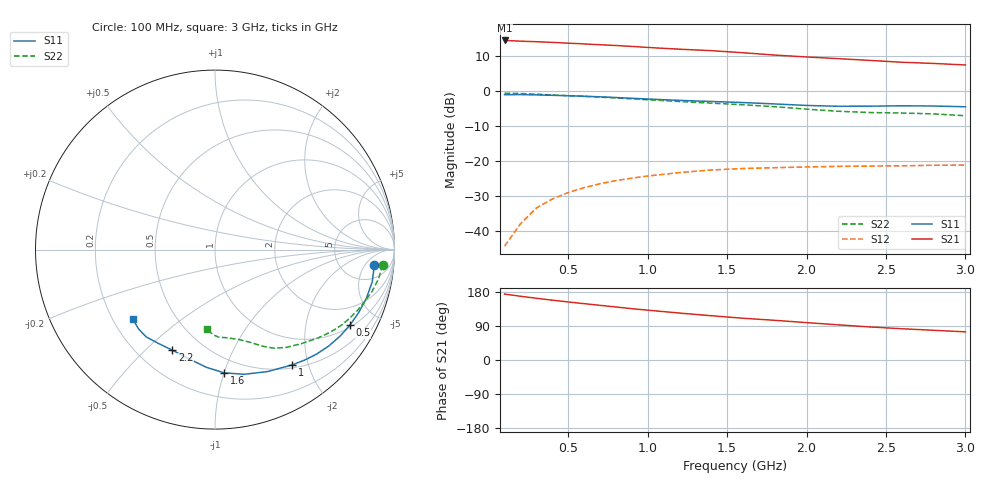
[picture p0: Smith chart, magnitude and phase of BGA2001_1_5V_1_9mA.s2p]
! Title: BGA2001
! Bias: Vce=1.5V,Ic=1.9mA
! Company: Philips Semiconductors NL
! User: Quality&Reliability T&D
! Measure time: 23 Oct 1998 / 09:09:17
#  MHz  S  MA  R 50
! Freq  S11  S21  S12  S22  :
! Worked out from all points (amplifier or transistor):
!   20 points, 100 MHz to 3 GHz, reference 50 ohm
!   highest |S21| = 14.5 dB at 100 MHz (marker M1)
!   |S21| within 3 dB of that: start of sweep to 1.428 GHz
!   unconditionally stable (mu >= 1): 2.88 GHz to end of sweep
!   at 400 MHz: K = 0.17, MSG = 22.4 dB, |S12| = -30.8 dB
!   at 1.2 GHz: K = 0.37, MSG = 17.6 dB, |S12| = -23.3 dB
!   at 3 GHz: K = 1.08, MAG = 12.6 dB, |S12| = -21.1 dB
!   S11 on the Smith chart (normalised r, x): 100 MHz: 10, -9; 500 MHz: 1.08, -3.52; 1 GHz: 0.55, -1.74; 1.6 GHz: 0.38, -1.00; 2.2 GHz: 0.34, -0.61; 3 GHz: 0.28, -0.34
100  0.8923 -5.6  5.321 173.9  0.006081 57.1  0.9379 -5.2
200  0.8943 -11.6  5.2 168.2  0.01272 82.8  0.9255 -10.2
300  0.8861 -17.7  5.104 162.9  0.02138 79.5  0.9055 -14.9
400  0.8743 -23.6  4.993 157.9  0.02871 75.4  0.8839 -19.1
500  0.8616 -29.3  4.868 153.2  0.03554 71.8  0.8634 -23.0
600  0.8469 -34.9  4.749 148.7  0.04177 68.3  0.8434 -26.8
700  0.8308 -40.3  4.619 144.3  0.04748 65.1  0.8241 -30.4
800  0.8125 -45.6  4.507 140.0  0.05263 62.0  0.8016 -33.9
900  0.7925 -51.0  4.375 135.4  0.05709 59.0  0.7784 -37.2
1000  0.7733 -56.2  4.228 131.5  0.06125 56.4  0.7558 -40.6
1200  0.7397 -66.8  3.991 123.8  0.06858 51.5  0.712 -47.4
1400  0.7135 -76.8  3.803 116.8  0.07473 47.1  0.6758 -53.7
1600  0.6885 -85.8  3.552 110.2  0.07846 44.0  0.6405 -59.1
1800  0.6578 -94.1  3.287 104.7  0.08059 42.2  0.6002 -63.8
2000  0.6259 -103.2  3.091 98.6  0.08254 39.3  0.5544 -69.0
2200  0.6088 -113.0  2.923 92.8  0.08413 36.7  0.5166 -75.5
2400  0.611 -121.6  2.757 87.2  0.08506 35.2  0.4956 -82.4
2600  0.6192 -128.2  2.595 82.5  0.08573 35.5  0.488 -87.8
2800  0.6141 -133.8  2.496 78.4  0.08726 34.9  0.4738 -91.5
3000  0.5996 -139.9  2.374 74.3  0.08771 35.1  0.4462 -95.4
